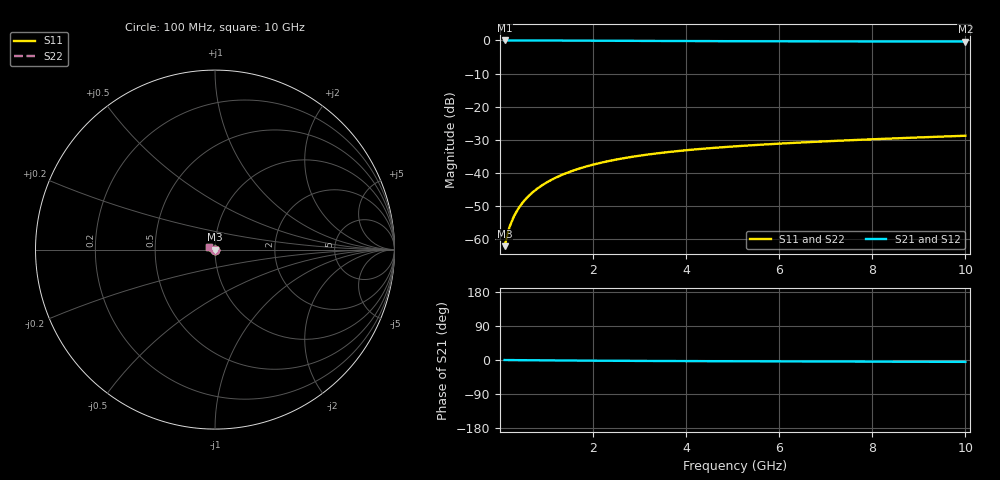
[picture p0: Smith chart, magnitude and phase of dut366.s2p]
! Touchstone file exported from HFSS 2024.1.0
!  File:  C:/UserFiles/LocalFiles/RDL_TSV_Batchsim/temp_TSV1_366_1779621484.aedt
!  Generated:  07:24:56 PM May 24, 2026
!  Design:  TSV1
!  Project:  temp_TSV1_366_1779621484
!  Setup:  Setup1
!  Solution:  Sweep
! Variables:
!  dtsv = 6.7um
!  hbump = 3um
!  htsv = 75.45um
!  lrdl = 252.1521522um
!  p = 40
!  p1 = 46.04um
!  t = 500um
!  trdl = 3um
!  wrdl = 24.89489489um
# GHz S MA R 50.000000
! Terminal data exported
! Port[1] = TSV22_T1
! Port[2] = TSV22_T2
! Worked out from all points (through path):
!   100 points, 100 MHz to 10 GHz, reference 50 ohm
!   highest |S21| = 0.00 dB at 100 MHz (marker M1); lowest = -0.3 dB at 10 GHz (marker M2)
!   lowest |S11| = -62.1 dB at 100 MHz (marker M3), VSWR 1.00, Z = 50 - j0.0733 ohm
!   |S11| at or under -10 dB: start of sweep to end of sweep
!   |S22| runs from -62.1 to -28.8 dB; largest |S21 - S12| = 6e-15
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0.1  0.0007855 -68.8  0.9997 -0.1  0.9997 -0.1  0.0007855 -68.8
! Gamma 0 0 0 0
! Port Impedance 50 0 50 0
0.2  0.001495 -81.8  0.9996 -0.2  0.9996 -0.2  0.001495 -81.8
0.3  0.002218 -87.7  0.9994 -0.3  0.9994 -0.3  0.002218 -87.7
0.4  0.002942 -91.6  0.9993 -0.4  0.9993 -0.4  0.002942 -91.6
0.5  0.003662 -94.7  0.999 -0.5  0.999 -0.5  0.003662 -94.7
0.6  0.004378 -97.4  0.9988 -0.6  0.9988 -0.6  0.004378 -97.4
0.7  0.005087 -99.9  0.9985 -0.7  0.9985 -0.7  0.005087 -99.9
0.8  0.005788 -102.2  0.9981 -0.8  0.9981 -0.8  0.005788 -102.2
0.9  0.006481 -104.4  0.9977 -0.9  0.9977 -0.9  0.006481 -104.4
1.1  0.007837 -108.6  0.9968 -1.1  0.9968 -1.1  0.007837 -108.6
1.4  0.009787 -114.4  0.9952 -1.3  0.9952 -1.3  0.009787 -114.4
1.6  0.01102 -118.1  0.9941 -1.5  0.9941 -1.5  0.01102 -118.1
1.8  0.01221 -121.7  0.9928 -1.6  0.9928 -1.6  0.01221 -121.7
2.1  0.01389 -126.8  0.9909 -1.8  0.9909 -1.8  0.01389 -126.8
2.5  0.01594 -133.1  0.9883 -2.1  0.9883 -2.1  0.01594 -133.1
2.9  0.01779 -139.1  0.9857 -2.3  0.9857 -2.3  0.01779 -139.1
3.4  0.01985 -145.9  0.9826 -2.6  0.9826 -2.6  0.01985 -145.9
4.2  0.02268 -155.6  0.9781 -3.0  0.9781 -3.0  0.02268 -155.6
5.1  0.02536 -165.1  0.974 -3.3  0.974 -3.3  0.02536 -165.1
6.7  0.02935 -179.1  0.9686 -3.9  0.9686 -3.9  0.02935 -179.1
8.4  0.03309 169.0  0.9647 -4.4  0.9647 -4.4  0.03309 169.0
10  0.03645 159.9  0.9621 -5.0  0.9621 -5.0  0.03645 159.9
